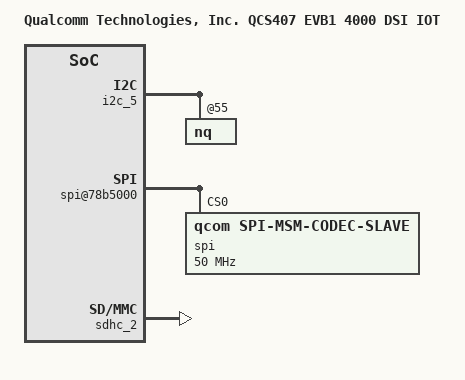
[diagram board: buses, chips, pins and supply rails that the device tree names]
/*
 * Copyright (c) 2019, The Linux Foundation. All rights reserved.
 *
 * This program is free software; you can redistribute it and/or modify
 * it under the terms of the GNU General Public License version 2 and
 * only version 2 as published by the Free Software Foundation.
 *
 * This program is distributed in the hope that it will be useful,
 * but WITHOUT ANY WARRANTY; without even the implied warranty of
 * MERCHANTABILITY or FITNESS FOR A PARTICULAR PURPOSE.  See the
 * GNU General Public License for more details.
 */

/dts-v1/;

#include "qcs407.dtsi"
#include "qcs405-audio-overlay.dtsi"
#include "qcs405-geni-ir-overlay.dtsi"
#include "qcs405-circular-pca9956.dtsi"

/ {
	model = "Qualcomm Technologies, Inc. QCS407 EVB1 4000 DSI IOT";
	compatible = "qcom,qcs407-iot", "qcom,qcs407", "qcom,iot";
	qcom,board-id = <0x020020 0x1>;
};

#include "qcs405-mdss-panels.dtsi"

&mdss_hdmi_tx {
	pinctrl-names = "hdmi_hpd_active", "hdmi_ddc_active", "hdmi_cec_active",
				"hdmi_active", "hdmi_sleep";
	pinctrl-0 = <&mdss_hdmi_5v_active  &mdss_hdmi_hpd_active
			&mdss_hdmi_ddc_suspend &mdss_hdmi_cec_suspend>;
	pinctrl-1 = <&mdss_hdmi_5v_active &mdss_hdmi_hpd_active
			&mdss_hdmi_ddc_active &mdss_hdmi_cec_suspend>;
	pinctrl-2 = <&mdss_hdmi_5v_active &mdss_hdmi_hpd_active
			&mdss_hdmi_cec_active &mdss_hdmi_ddc_suspend>;
	pinctrl-3 = <&mdss_hdmi_5v_active &mdss_hdmi_hpd_active
			&mdss_hdmi_ddc_active &mdss_hdmi_cec_active>;
	pinctrl-4 = <&mdss_hdmi_5v_suspend &mdss_hdmi_hpd_suspend
			&mdss_hdmi_ddc_suspend &mdss_hdmi_cec_suspend>;
};

&mdss_mdp {
	qcom,mdss-pref-prim-intf = "dsi";
};

&mdss_dsi {
	hw-config = "single_dsi";
};

&mdss_dsi0 {
	qcom,dsi-pref-prim-pan = <&dsi_hx8394d_720_vid>;
	pinctrl-names = "mdss_default", "mdss_sleep";
	pinctrl-0 = <&mdss_dsi_active &mdss_te_active>;
	pinctrl-1 = <&mdss_dsi_suspend &mdss_te_suspend>;

	qcom,platform-te-gpio = <&tlmm 41 0>;
	qcom,platform-reset-gpio = <&tlmm 39 0>;
	qcom,platform-bklight-en-gpio = <&tlmm 48 0>;
};

&dsi_hx8394d_720_vid {
	qcom,mdss-dsi-bl-pmic-control-type = "bl_ctrl_tlmm_gpio";
	qcom,mdss-dsi-bl-pmic-bank-select = <0>;
	qcom,panel-supply-entries = <&dsi_panel_pwr_supply>;
};

&i2c_5 { /* BLSP (NTAG) */
	status = "ok";
	nq@55 {
		status = "ok";
	};
};

&soc {
	spi@78b5000 {
		status = "ok";
		spi@0 {
			compatible = "qcom,spi-msm-codec-slave";
			reg = <0>;
			spi-max-frequency = <50000000>;
		};
	};
};

&sdhc_2 {
	/delete-property/ qcom,devfreq,freq-table;
	/delete-property/ cd-gpios;

	qcom,clk-rates = <400000 20000000 25000000
				50000000 100000000>;
	/* VDD is an external regulator eLDO5 */
	vdd-io-supply = <&pms405_l6>;
	qcom,vdd-io-voltage-level = <1800000 1800000>;
	post-power-on-delay-ms = <100>;

	qcom,core_3_0v_support;
	qcom,nonremovable;

	pinctrl-names = "active", "sleep";
	pinctrl-0 = <&sdc2_clk_on  &sdc2_cmd_on &sdc2_data_on
		&sdc2_wlan_on4>;
	pinctrl-1 = <&sdc2_clk_off &sdc2_cmd_off &sdc2_data_off
		&sdc2_wlan_off4>;

	status = "ok";
};
